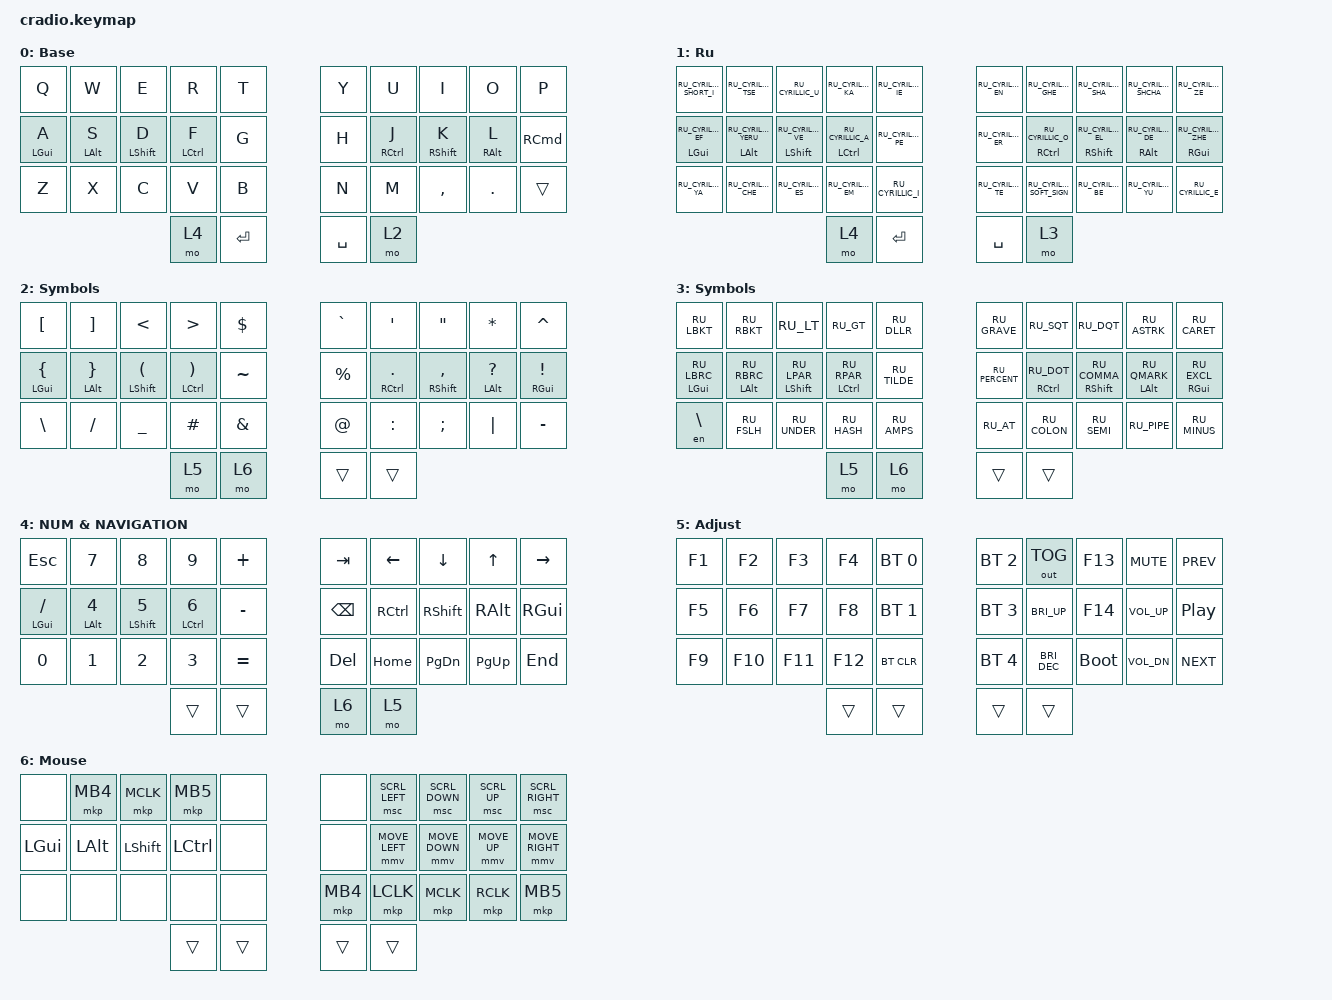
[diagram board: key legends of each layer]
// Copyright (c) 2022 The ZMK Contributors
// SPDX-License-Identifier: MIT

#define ZMK_POINTING_DEFAULT_MOVE_VAL 2500  // 600
#define ZMK_POINTING_DEFAULT_SCRL_VAL 20    // 10

#include "keys_ru.h"
#include <behaviors.dtsi>
#include <dt-bindings/zmk/bt.h>
#include <dt-bindings/zmk/keys.h>
#include <dt-bindings/zmk/outputs.h>
#include <dt-bindings/zmk/pointing.h>

// https: //zmk.dev/docs/development/hardware-integration/soft-off-setup?advanced-methods=wakeup&kscan-type=dkscan

/ {
    keys {
        compatible = "gpio-keys";

        soft_off_gpio_key: soft_off_gpio_key { gpios = <&gpio1 6 (GPIO_ACTIVE_LOW | GPIO_PULL_UP)>; };
    };

    wakeup_scan: wakeup_scan {
        compatible = "zmk,kscan-gpio-direct";
        input-keys = <&soft_off_gpio_key>;
        wakeup-source;
    };

    side_band_behavior_triggers: side_band_behavior_triggers {
        compatible = "zmk,kscan-sideband-behaviors";
        kscan = <&wakeup_scan>;
        auto-enable;
        wakeup-source;
    };

    soft_off_wakers {
        compatible = "zmk,soft-off-wakeup-sources";
        wakeup-sources = <&wakeup_scan>;
    };
};

/ {
    chosen { zmk,charmap = &charmap_us; };

    behaviors {
        hml: home_row_mod_left {
            compatible = "zmk,behavior-hold-tap";
            #binding-cells = <2>;
            flavor = "balanced";
            require-prior-idle-ms = <150>;
            tapping-term-ms = <280>;
            quick-tap-ms = <175>;
            bindings = <&kp>, <&kp>;

            hold-trigger-key-positions = <5 6 7 8 9 15 16 17 18 19 25 26 27 28 29 32 33>;
            hold-trigger-on-release;
        };

        hmr: home_row_mod_right {
            compatible = "zmk,behavior-hold-tap";
            #binding-cells = <2>;
            flavor = "balanced";
            require-prior-idle-ms = <150>;
            tapping-term-ms = <280>;
            quick-tap-ms = <175>;
            bindings = <&kp>, <&kp>;

            hold-trigger-key-positions = <0 1 2 3 4 10 11 12 13 14 20 21 22 23 24 30 31>;
            hold-trigger-on-release;
        };

        mmv {
            acceleration-exponent = <1>;      // 1
            time-to-max-speed-ms = <300>;    // 40
            delay-ms = <0>;                   // 0
        };

        msc {
            acceleration-exponent = <0>;      // 0
            time-to-max-speed-ms = <40>;      // 500
            delay-ms = <0>;                   // 10
        };
    };

    combos {
        compatible = "zmk,combos";

        yo {
            bindings = <&kp RU_CYRILLIC_IO>;
            key-positions = <4 12>;
            layers = <1>;
        };

        hrdsgn {
            bindings = <&kp RU_CYRILLIC_HARD_SIGN>;
            key-positions = <26 17>;
            layers = <1>;
        };

        ha {
            bindings = <&kp RU_CYRILLIC_HA>;
            key-positions = <17 8>;
            layers = <1>;
        };

        cmbru {
            bindings = <&layer_ru>;
            key-positions = <2 3>;
            layers = <0>;
        };

        cmben {
            bindings = <&layer_en>;
            key-positions = <2 1>;
            layers = <1>;
        };
    };

    macros {
        to_ru: to_ru {
            compatible = "zmk,behavior-macro";
            #binding-cells = <0>;
            bindings = <&kp LC(SPACE)>;
            label = "TO_RU";
            wait-ms = <0>;
            tap-ms = <30>;
        };

        to_en: to_en {
            compatible = "zmk,behavior-macro";
            #binding-cells = <0>;
            bindings = <&kp LC(SPACE)>;
            label = "TO_EN";
            wait-ms = <0>;
            tap-ms = <30>;
        };

        layer_en: layer_en {
            compatible = "zmk,behavior-macro";
            #binding-cells = <0>;
            bindings = <&to 0 &to_en>;
            label = "LAYER_EN";
            wait-ms = <0>;
            tap-ms = <30>;
        };

        layer_ru: layer_ru {
            compatible = "zmk,behavior-macro";
            #binding-cells = <0>;
            bindings = <&to 1 &to_ru>;
            label = "LAYER_RU";
            tap-ms = <30>;
            wait-ms = <0>;
        };

        en: en {
            compatible = "zmk,behavior-macro-one-param";
            #binding-cells = <1>;
            bindings =
                <&to_en>,
                <&macro_press>,
                <&macro_param_1to1 &kp MACRO_PLACEHOLDER>,
                <&macro_pause_for_release>,
                <&macro_release>,
                <&macro_param_1to1 &kp MACRO_PLACEHOLDER>,
                <&macro_tap>,
                <&to_ru>;

            label = "EN";
            wait-ms = <0>;
            tap-ms = <30>;
        };
    };

    keymap {
        compatible = "zmk,keymap";

        en {
            display-name = "Base";
            bindings = <
&kp Q        &kp W        &kp E          &kp R         &kp T        &kp Y      &kp U         &kp I          &kp O        &kp P
&hml LGUI A  &hml LALT S  &hml LSHIFT D  &hml LCTRL F  &kp G        &kp H      &hmr RCTRL J  &hmr RSHIFT K  &hmr RALT L  &kp RCMD
&kp Z        &kp X        &kp C          &kp V         &kp B        &kp N      &kp M         &kp COMMA      &kp DOT      &trans
                                         &mo 4         &kp ENTER    &kp SPACE  &mo 2
            >;
        };

        ru {
            display-name = "Ru";
            bindings = <
&kp RU_CYRILLIC_SHORT_I   &kp RU_CYRILLIC_TSE         &kp RU_CYRILLIC_U           &kp RU_CYRILLIC_KA        &kp RU_CYRILLIC_IE    &kp RU_CYRILLIC_EN  &kp RU_CYRILLIC_GHE        &kp RU_CYRILLIC_SHA         &kp RU_CYRILLIC_SHCHA     &kp RU_CYRILLIC_ZE
&hml LGUI RU_CYRILLIC_EF  &hml LALT RU_CYRILLIC_YERU  &hml LSHIFT RU_CYRILLIC_VE  &hml LCTRL RU_CYRILLIC_A  &kp RU_CYRILLIC_PE    &kp RU_CYRILLIC_ER  &hmr RCTRL RU_CYRILLIC_O   &hmr RSHIFT RU_CYRILLIC_EL  &hmr RALT RU_CYRILLIC_DE  &hmr RGUI RU_CYRILLIC_ZHE
&kp RU_CYRILLIC_YA        &kp RU_CYRILLIC_CHE         &kp RU_CYRILLIC_ES          &kp RU_CYRILLIC_EM        &kp RU_CYRILLIC_I     &kp RU_CYRILLIC_TE  &kp RU_CYRILLIC_SOFT_SIGN  &kp RU_CYRILLIC_BE          &kp RU_CYRILLIC_YU        &kp RU_CYRILLIC_E
                                                                                  &mo 4                     &kp ENTER             &kp SPACE           &mo 3
            >;
        };

        sym_en {
            display-name = "Symbols";
            bindings = <
&kp LBKT        &kp RBKT        &kp LT           &kp GT           &kp DLLR     &kp GRAVE    &kp SQT         &kp DQT           &kp ASTRK        &kp CARET
&hml LGUI LBRC  &hml LALT RBRC  &hml LSHFT LPAR  &hml LCTRL RPAR  &kp TILDE    &kp PERCENT  &hmr RCTRL DOT  &hmr RSHFT COMMA  &hmr LALT QMARK  &hmr RGUI EXCL
&kp BSLH        &kp FSLH        &kp UNDER        &kp HASH         &kp AMPS     &kp AT       &kp COLON       &kp SEMI          &kp PIPE         &kp MINUS
                                                 &mo 5            &mo 6        &trans       &trans
            >;
        };

        sym_ru {
            display-name = "Symbols";
            bindings = <
&kp RU_LBKT        &kp RU_RBKT        &kp RU_LT           &kp RU_GT           &kp RU_DLLR     &kp RU_GRAVE    &kp RU_SQT         &kp RU_DQT           &kp RU_ASTRK        &kp RU_CARET
&hml LGUI RU_LBRC  &hml LALT RU_RBRC  &hml LSHFT RU_LPAR  &hml LCTRL RU_RPAR  &kp RU_TILDE    &kp RU_PERCENT  &hmr RCTRL RU_DOT  &hmr RSHFT RU_COMMA  &hmr LALT RU_QMARK  &hmr RGUI RU_EXCL
&en BSLH           &kp RU_FSLH        &kp RU_UNDER        &kp RU_HASH         &kp RU_AMPS     &kp RU_AT       &kp RU_COLON       &kp RU_SEMI          &kp RU_PIPE         &kp RU_MINUS
                                                          &mo 5               &mo 6           &trans          &trans
            >;
        };

        num_nav {
            display-name = "NUM & NAVIGATION";
            bindings = <
&kp ESC          &kp NUMBER_7        &kp NUMBER_8         &kp NUMBER_9         &kp PLUS     &kp TAB        &kp LEFT   &kp DOWN       &kp UP       &kp RIGHT
&hml LGUI SLASH  &hml LALT NUMBER_4  &hml LSHFT NUMBER_5  &hml LCTRL NUMBER_6  &kp MINUS    &kp BACKSPACE  &kp RCTRL  &kp RSHIFT     &kp RALT     &kp RGUI
&kp NUMBER_0     &kp NUMBER_1        &kp NUMBER_2         &kp NUMBER_3         &kp EQUAL    &kp DELETE     &kp HOME   &kp PAGE_DOWN  &kp PAGE_UP  &kp END
                                                          &trans               &trans       &mo 6          &mo 5
            >;
        };

        adj {
            display-name = "Adjust";
            bindings = <
&kp F1  &kp F2   &kp F3   &kp F4   &bt BT_SEL 0    &bt BT_SEL 2  &out OUT_TOG   &kp F13      &kp C_MUTE    &kp C_PREV
&kp F5  &kp F6   &kp F7   &kp F8   &bt BT_SEL 1    &bt BT_SEL 3  &kp C_BRI_UP   &kp F14      &kp C_VOL_UP  &kp C_PP
&kp F9  &kp F10  &kp F11  &kp F12  &bt BT_CLR      &bt BT_SEL 4  &kp C_BRI_DEC  &bootloader  &kp C_VOL_DN  &kp C_NEXT
                          &trans   &trans          &trans        &trans
            >;
        };

        mouse {
            display-name = "Mouse";
            bindings = <
&none     &mkp MB4  &mkp MCLK   &mkp MB5   &none     &none     &msc SCRL_LEFT  &msc SCRL_DOWN  &msc SCRL_UP  &msc SCRL_RIGHT
&kp LGUI  &kp LALT  &kp LSHIFT  &kp LCTRL  &none     &none     &mmv MOVE_LEFT  &mmv MOVE_DOWN  &mmv MOVE_UP  &mmv MOVE_RIGHT
&none     &none     &none       &none      &none     &mkp MB4  &mkp LCLK       &mkp MCLK       &mkp RCLK     &mkp MB5
                                &trans     &trans    &trans    &trans
            >;
        };
    };
};
